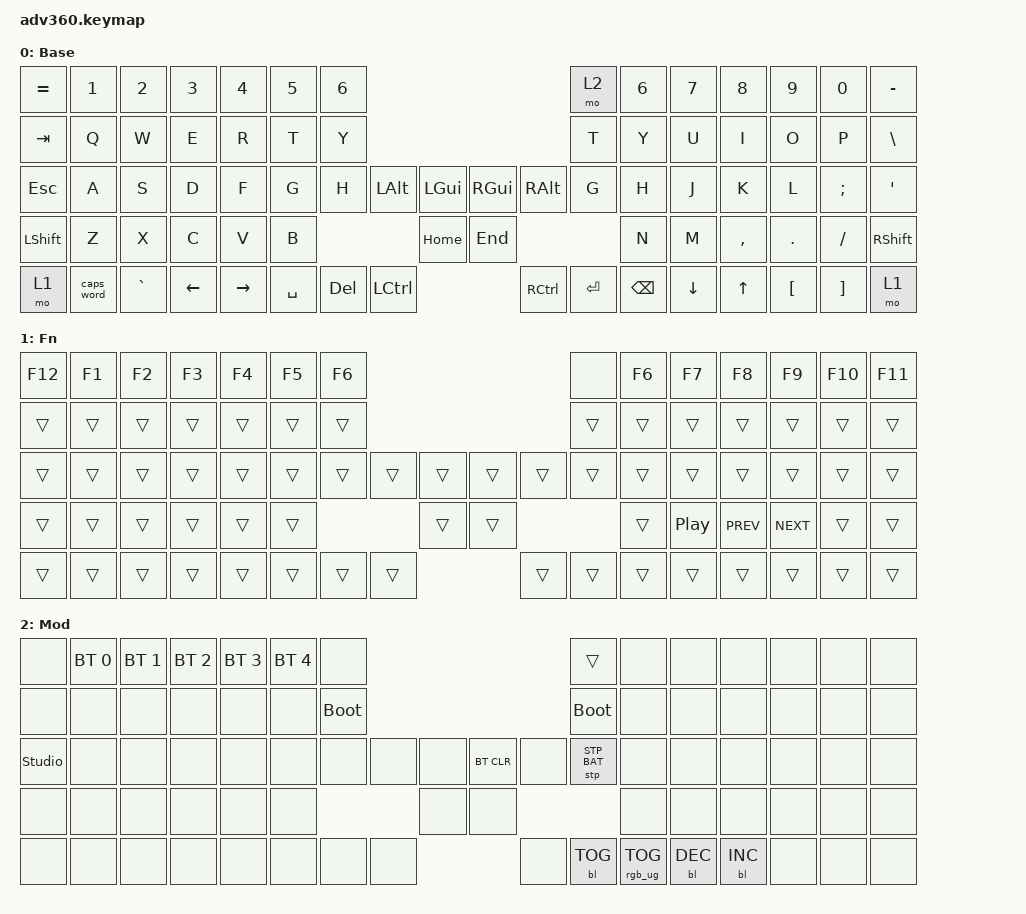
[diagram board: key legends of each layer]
#include <behaviors.dtsi>
#include <dt-bindings/zmk/keys.h>
#include <dt-bindings/zmk/bt.h>
#include <dt-bindings/zmk/rgb.h>
#include <dt-bindings/zmk/stp.h>
#include <dt-bindings/zmk/backlight.h>

/ {

  keymap {
    compatible = "zmk,keymap";

    default_layer {
      display-name = "Base";
      bindings = <
        &kp EQUAL &kp N1    &kp N2   &kp N3   &kp N4     &kp N5 &kp N6                                                   &mo 2 &kp N6 &kp N7    &kp N8    &kp N9   &kp N0   &kp MINUS
        &kp TAB   &kp Q     &kp W    &kp E    &kp R      &kp T  &kp Y                                                    &kp T &kp Y  &kp U     &kp I     &kp O    &kp P    &kp BSLH
        &kp ESC   &kp A     &kp S    &kp D    &kp F      &kp G  &kp H        &kp LALT &kp LGUI  &kp RGUI &kp RALT        &kp G &kp H  &kp J     &kp K     &kp L    &kp SEMI &kp SQT
        &kp LSHFT &kp Z     &kp X    &kp C    &kp V      &kp B                        &kp HOME  &kp END                        &kp N  &kp M     &kp COMMA &kp DOT  &kp FSLH &kp RSHFT
        &mo 1     &caps_word &kp GRAVE &kp LEFT &kp RIGHT          &kp SPACE &kp DEL  &kp LCTRL &kp RCTRL &kp ENTER &kp BSPC          &kp DOWN  &kp UP    &kp LBKT &kp RBKT &mo 1
      >;
    };
    fn {
      display-name = "Fn";
      bindings = <
        &kp F12 &kp F1 &kp F2 &kp F3 &kp F4 &kp F5 &kp F6                                         &none  &kp F6 &kp F7           &kp F8     &kp F9     &kp F10 &kp F11
        &trans  &trans &trans &trans &trans &trans &trans                                         &trans &trans &trans           &trans     &trans     &trans  &trans
        &trans  &trans &trans &trans &trans &trans &trans        &trans &trans &trans &trans      &trans &trans &trans           &trans     &trans     &trans  &trans
        &trans  &trans &trans &trans &trans &trans                     &trans &trans                     &trans &kp C_PLAY_PAUSE &kp C_PREV &kp C_NEXT &trans  &trans
        &trans  &trans &trans &trans &trans               &trans &trans &trans &trans &trans &trans             &trans           &trans     &trans     &trans  &trans
      >;
    };
    mod {
      display-name = "Mod";
      bindings = <
        &none          &bt BT_SEL 0 &bt BT_SEL 1 &bt BT_SEL 2 &bt BT_SEL 3 &bt BT_SEL 4 &none                                          &trans       &none &none      &none      &none &none &none
        &none          &none        &none        &none        &none        &none        &bootloader                                    &bootloader  &none &none      &none      &none &none &none
        &studio_unlock &none        &none        &none        &none        &none        &none     &none &none &bt BT_CLR &none         &stp STP_BAT &none &none      &none      &none &none &none
        &none          &none        &none        &none        &none        &none                        &none &none                                 &none &none      &none      &none &none &none
        &none          &none        &none        &none        &none                         &none &none &none &none      &bl BL_TOG &rgb_ug RGB_TOG       &bl BL_DEC &bl BL_INC &none &none &none
      >;
    };
    extra1 { 
      display-name = "Red";    
      status = "reserved";
    };

    extra2 { 
      display-name = "Purple";    
      status = "reserved";
    };

    extra3 { 
      display-name = "Cyan";    
      status = "reserved";
    };

    extra4 { 
      display-name = "Yellow";    
      status = "reserved";
    };
  };
};
